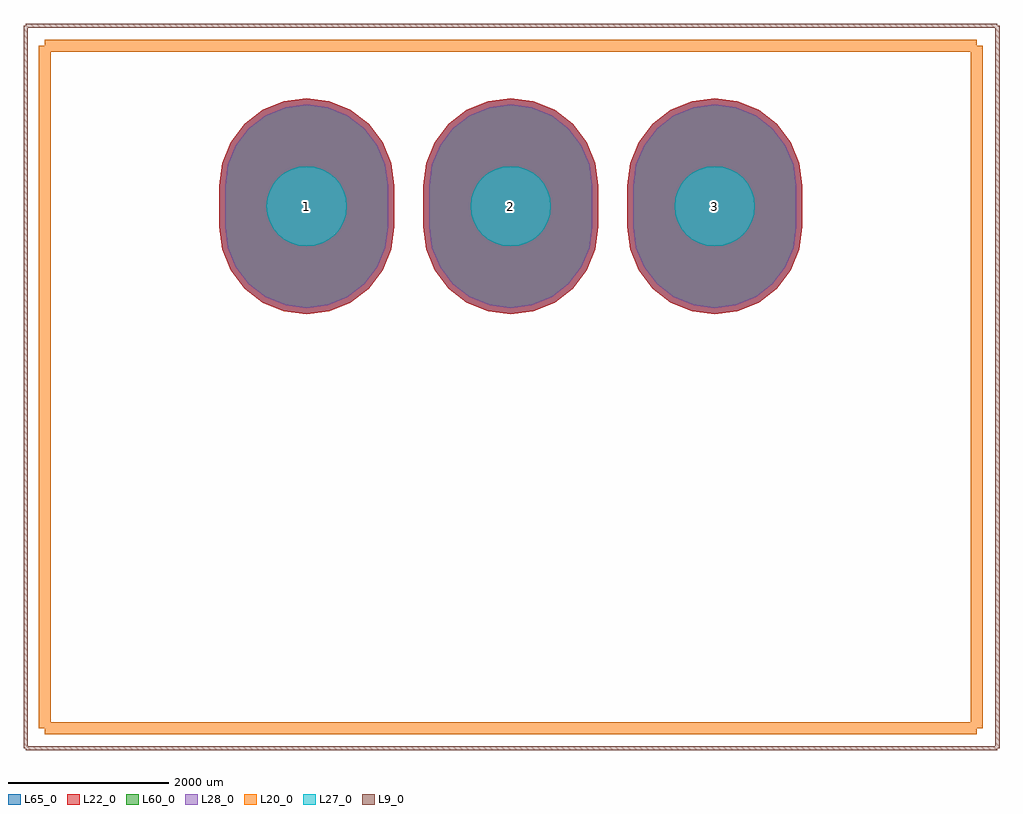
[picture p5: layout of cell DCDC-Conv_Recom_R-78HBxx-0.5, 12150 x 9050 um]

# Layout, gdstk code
import gdstk
lib = gdstk.Library(unit=1e-6, precision=1e-09)
def P(c, l, *ps):  # polygons
    for p in ps: c.add(gdstk.Polygon(p, *l))
L9_0 = (9, 0)
L20_0 = (20, 0)
L22_0 = (22, 0)
L27_0 = (27, 0)
L28_0 = (28, 0)
L60_0 = (60, 0)
L65_0 = (65, 0)

dcdc_conv_recom_r_78hbxx = lib.new_cell('DCDC-Conv_Recom_R-78HBxx-0.5')
P(dcdc_conv_recom_r_78hbxx, L22_0, [(0,-1345),(282.372,-1307.825),(545.5,-1198.834),(771.453,-1025.453),(944.834,-799.5),(1053.825,-536.372),(1091,-254),(1091,254),(1053.825,536.372),(944.834,799.5),(771.453,1025.453),(545.5,1198.834),(282.372,1307.825),(0,1345),(-282.372,1307.825),(-545.5,1198.834),(-771.453,1025.453),(-944.834,799.5),(-1053.825,536.372),(-1091,254),(-1091,-254),(-1053.825,-536.372),(-944.834,-799.5),(-771.453,-1025.453),(-545.5,-1198.834),(-282.372,-1307.825)],
  [(5080,-1345),(5362.372,-1307.825),(5625.5,-1198.834),(5851.453,-1025.453),(6024.834,-799.5),(6133.825,-536.372),(6171,-254),(6171,254),(6133.825,536.372),(6024.834,799.5),(5851.453,1025.453),(5625.5,1198.834),(5362.372,1307.825),(5080,1345),(4797.628,1307.825),(4534.5,1198.834),(4308.547,1025.453),(4135.166,799.5),(4026.175,536.372),(3989,254),(3989,-254),(4026.175,-536.372),(4135.166,-799.5),(4308.547,-1025.453),(4534.5,-1198.834),(4797.628,-1307.825)],
  [(2540,-1345),(2822.372,-1307.825),(3085.5,-1198.834),(3311.453,-1025.453),(3484.834,-799.5),(3593.825,-536.372),(3631,-254),(3631,254),(3593.825,536.372),(3484.834,799.5),(3311.453,1025.453),(3085.5,1198.834),(2822.372,1307.825),(2540,1345),(2257.628,1307.825),(1994.5,1198.834),(1768.547,1025.453),(1595.166,799.5),(1486.175,536.372),(1449,254),(1449,-254),(1486.175,-536.372),(1595.166,-799.5),(1768.547,-1025.453),(1994.5,-1198.834),(2257.628,-1307.825)])
P(dcdc_conv_recom_r_78hbxx, L27_0, [(499.999,0),(490.392,97.545),(461.939,191.341),(415.734,277.785),(353.553,353.553),(277.785,415.734),(191.341,461.939),(97.545,490.392),(0,499.999),(-97.545,490.392),(-191.341,461.939),(-277.785,415.734),(-353.553,353.553),(-415.734,277.785),(-461.939,191.341),(-490.392,97.545),(-499.999,0),(-490.392,-97.545),(-461.939,-191.341),(-415.734,-277.785),(-353.553,-353.553),(-277.785,-415.734),(-191.341,-461.939),(-97.545,-490.392),(0,-499.999),(97.545,-490.392),(191.341,-461.939),(277.785,-415.734),(353.553,-353.553),(415.734,-277.785),(461.939,-191.341),(490.392,-97.545)],
  [(5579.999,0),(5570.392,97.545),(5541.939,191.341),(5495.734,277.785),(5433.553,353.553),(5357.785,415.734),(5271.341,461.939),(5177.545,490.392),(5080,499.999),(4982.455,490.392),(4888.659,461.939),(4802.215,415.734),(4726.447,353.553),(4664.266,277.785),(4618.061,191.341),(4589.608,97.545),(4580.001,0),(4589.608,-97.545),(4618.061,-191.341),(4664.266,-277.785),(4726.447,-353.553),(4802.215,-415.734),(4888.659,-461.939),(4982.455,-490.392),(5080,-499.999),(5177.545,-490.392),(5271.341,-461.939),(5357.785,-415.734),(5433.553,-353.553),(5495.734,-277.785),(5541.939,-191.341),(5570.392,-97.545)],
  [(3039.999,0),(3030.392,97.545),(3001.939,191.341),(2955.734,277.785),(2893.553,353.553),(2817.785,415.734),(2731.341,461.939),(2637.545,490.392),(2540,499.999),(2442.455,490.392),(2348.659,461.939),(2262.215,415.734),(2186.447,353.553),(2124.266,277.785),(2078.061,191.341),(2049.608,97.545),(2040.001,0),(2049.608,-97.545),(2078.061,-191.341),(2124.266,-277.785),(2186.447,-353.553),(2262.215,-415.734),(2348.659,-461.939),(2442.455,-490.392),(2540,-499.999),(2637.545,-490.392),(2731.341,-461.939),(2817.785,-415.734),(2893.553,-353.553),(2955.734,-277.785),(3001.939,-191.341),(3030.392,-97.545)])
P(dcdc_conv_recom_r_78hbxx, L28_0, [(0,-1270),(262.96,-1235.381),(508,-1133.882),(718.42,-972.42),(879.882,-762),(981.381,-516.96),(1016,-254),(1016,254),(981.381,516.96),(879.882,762),(718.42,972.42),(508,1133.882),(262.96,1235.381),(0,1270),(-262.96,1235.381),(-508,1133.882),(-718.42,972.42),(-879.882,762),(-981.381,516.96),(-1016,254),(-1016,-254),(-981.381,-516.96),(-879.882,-762),(-718.42,-972.42),(-508,-1133.882),(-262.96,-1235.381)],
  [(5080,-1270),(5342.96,-1235.381),(5588,-1133.882),(5798.42,-972.42),(5959.882,-762),(6061.381,-516.96),(6096,-254),(6096,254),(6061.381,516.96),(5959.882,762),(5798.42,972.42),(5588,1133.882),(5342.96,1235.381),(5080,1270),(4817.04,1235.381),(4572,1133.882),(4361.58,972.42),(4200.118,762),(4098.619,516.96),(4064,254),(4064,-254),(4098.619,-516.96),(4200.118,-762),(4361.58,-972.42),(4572,-1133.882),(4817.04,-1235.381)],
  [(2540,-1270),(2802.96,-1235.381),(3048,-1133.882),(3258.42,-972.42),(3419.882,-762),(3521.381,-516.96),(3556,-254),(3556,254),(3521.381,516.96),(3419.882,762),(3258.42,972.42),(3048,1133.882),(2802.96,1235.381),(2540,1270),(2277.04,1235.381),(2032,1133.882),(1821.58,972.42),(1660.118,762),(1558.619,516.96),(1524,254),(1524,-254),(1558.619,-516.96),(1660.118,-762),(1821.58,-972.42),(2032,-1133.882),(2277.04,-1235.381)])
P(dcdc_conv_recom_r_78hbxx, L60_0, [(0,-1270),(262.96,-1235.381),(508,-1133.882),(718.42,-972.42),(879.882,-762),(981.381,-516.96),(1016,-254),(1016,254),(981.381,516.96),(879.882,762),(718.42,972.42),(508,1133.882),(262.96,1235.381),(0,1270),(-262.96,1235.381),(-508,1133.882),(-718.42,972.42),(-879.882,762),(-981.381,516.96),(-1016,254),(-1016,-254),(-981.381,-516.96),(-879.882,-762),(-718.42,-972.42),(-508,-1133.882),(-262.96,-1235.381)],
  [(5080,-1270),(5342.96,-1235.381),(5588,-1133.882),(5798.42,-972.42),(5959.882,-762),(6061.381,-516.96),(6096,-254),(6096,254),(6061.381,516.96),(5959.882,762),(5798.42,972.42),(5588,1133.882),(5342.96,1235.381),(5080,1270),(4817.04,1235.381),(4572,1133.882),(4361.58,972.42),(4200.118,762),(4098.619,516.96),(4064,254),(4064,-254),(4098.619,-516.96),(4200.118,-762),(4361.58,-972.42),(4572,-1133.882),(4817.04,-1235.381)],
  [(2540,-1270),(2802.96,-1235.381),(3048,-1133.882),(3258.42,-972.42),(3419.882,-762),(3521.381,-516.96),(3556,-254),(3556,254),(3521.381,516.96),(3419.882,762),(3258.42,972.42),(3048,1133.882),(2802.96,1235.381),(2540,1270),(2277.04,1235.381),(2032,1133.882),(1821.58,972.42),(1660.118,762),(1558.619,516.96),(1524,254),(1524,-254),(1558.619,-516.96),(1660.118,-762),(1821.58,-972.42),(2032,-1133.882),(2277.04,-1235.381)])
P(dcdc_conv_recom_r_78hbxx, L65_0, [(0,-1345),(282.372,-1307.825),(545.5,-1198.834),(771.453,-1025.453),(944.834,-799.5),(1053.825,-536.372),(1091,-254),(1091,254),(1053.825,536.372),(944.834,799.5),(771.453,1025.453),(545.5,1198.834),(282.372,1307.825),(0,1345),(-282.372,1307.825),(-545.5,1198.834),(-771.453,1025.453),(-944.834,799.5),(-1053.825,536.372),(-1091,254),(-1091,-254),(-1053.825,-536.372),(-944.834,-799.5),(-771.453,-1025.453),(-545.5,-1198.834),(-282.372,-1307.825)],
  [(5080,-1345),(5362.372,-1307.825),(5625.5,-1198.834),(5851.453,-1025.453),(6024.834,-799.5),(6133.825,-536.372),(6171,-254),(6171,254),(6133.825,536.372),(6024.834,799.5),(5851.453,1025.453),(5625.5,1198.834),(5362.372,1307.825),(5080,1345),(4797.628,1307.825),(4534.5,1198.834),(4308.547,1025.453),(4135.166,799.5),(4026.175,536.372),(3989,254),(3989,-254),(4026.175,-536.372),(4135.166,-799.5),(4308.547,-1025.453),(4534.5,-1198.834),(4797.628,-1307.825)],
  [(2540,-1345),(2822.372,-1307.825),(3085.5,-1198.834),(3311.453,-1025.453),(3484.834,-799.5),(3593.825,-536.372),(3631,-254),(3631,254),(3593.825,536.372),(3484.834,799.5),(3311.453,1025.453),(3085.5,1198.834),(2822.372,1307.825),(2540,1345),(2257.628,1307.825),(1994.5,1198.834),(1768.547,1025.453),(1595.166,799.5),(1486.175,536.372),(1449,254),(1449,-254),(1486.175,-536.372),(1595.166,-799.5),(1768.547,-1025.453),(1994.5,-1198.834),(2257.628,-1307.825)])
dcdc_conv_recom_r_78hbxx.add(gdstk.FlexPath([(-3260,2000),(8340,2000)], 149.998, ends="flush", simple_path=True, layer=20, datatype=0))  # L20_0
dcdc_conv_recom_r_78hbxx.add(gdstk.FlexPath([(-3260,-6500),(-3260,2000)], 149.998, ends="flush", simple_path=True, layer=20, datatype=0))  # L20_0
dcdc_conv_recom_r_78hbxx.add(gdstk.FlexPath([(8340,-6500),(-3260,-6500)], 149.998, ends="flush", simple_path=True, layer=20, datatype=0))  # L20_0
dcdc_conv_recom_r_78hbxx.add(gdstk.FlexPath([(8340,2000),(8340,-6500)], 149.998, ends="flush", simple_path=True, layer=20, datatype=0))  # L20_0
dcdc_conv_recom_r_78hbxx.add(gdstk.FlexPath([(-3500,-6750),(8600,-6750)], 50, ends="flush", simple_path=True, layer=9, datatype=0))  # L9_0
dcdc_conv_recom_r_78hbxx.add(gdstk.FlexPath([(-3500,2250),(8600,2250)], 50, ends="flush", simple_path=True, layer=9, datatype=0))  # L9_0
dcdc_conv_recom_r_78hbxx.add(gdstk.FlexPath([(8600,2250),(8600,-6750)], 50, ends="flush", simple_path=True, layer=9, datatype=0))  # L9_0
dcdc_conv_recom_r_78hbxx.add(gdstk.FlexPath([(-3500,2250),(-3500,-6750)], 50, ends="flush", simple_path=True, layer=9, datatype=0))  # L9_0
dcdc_conv_recom_r_78hbxx.add(gdstk.Label('1', (0,0), layer=28, texttype=0))
dcdc_conv_recom_r_78hbxx.add(gdstk.Label('3', (5080,0), layer=28, texttype=0))
dcdc_conv_recom_r_78hbxx.add(gdstk.Label('2', (2540,0), layer=28, texttype=0))
dcdc_conv_recom_r_78hbxx.add(gdstk.Label('type', (0,3850), layer=9, texttype=0))
dcdc_conv_recom_r_78hbxx.add(gdstk.Label('devicename', (0,5850), layer=9, texttype=0))

lib.write_gds('DCDC-Conv_Recom_R-78HBxx-0.5.gds')
